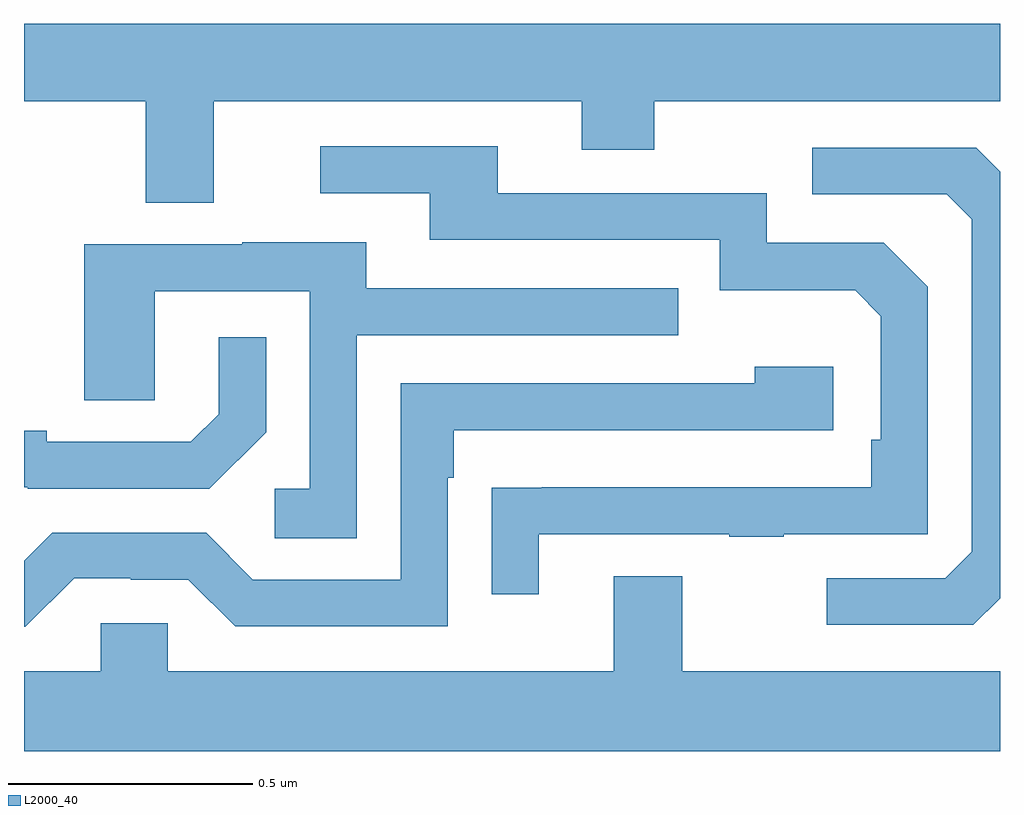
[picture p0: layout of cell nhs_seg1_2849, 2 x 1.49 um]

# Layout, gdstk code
import gdstk
lib = gdstk.Library(unit=1e-6, precision=1e-09)
def P(c, l, *ps):  # polygons
    for p in ps: c.add(gdstk.Polygon(p, *l))
L2000_40 = (2000, 40)

nhs_seg1_2849 = lib.new_cell('nhs_seg1_2849')
P(nhs_seg1_2849, L2000_40, [(146.389,577.04),(147.143,577.04),(147.143,576.941),(147.291,576.941),(147.291,577.04),(148,577.04),(148,577.199),(146,577.199),(146,577.04),(146.249,577.04),(146.249,576.832),(146.389,576.832)],
  [(147.055,576.153),(147.445,576.153),(147.445,576.148),(147.557,576.148),(147.557,576.153),(147.852,576.153),(147.852,576.66),(147.762,576.75),(147.522,576.75),(147.522,576.852),(146.971,576.852),(146.971,576.948),(146.607,576.948),(146.607,576.852),(146.831,576.852),(146.831,576.756),(147.426,576.756),(147.426,576.653),(147.703,576.653),(147.756,576.6),(147.756,576.346),(147.736,576.346),(147.736,576.249),(147.061,576.249),(147.061,576.248),(146.959,576.248),(146.959,576.03),(147.055,576.03)],
  [(148,576.022),(148,576.896),(147.951,576.945),(147.615,576.945),(147.615,576.849),(147.891,576.849),(147.942,576.798),(147.942,576.117),(147.888,576.063),(147.645,576.063),(147.645,575.967),(147.945,575.967)],
  [(146.682,576.561),(147.341,576.561),(147.341,576.657),(146.701,576.657),(146.701,576.751),(146.447,576.751),(146.447,576.747),(146.123,576.747),(146.123,576.427),(146.268,576.427),(146.268,576.651),(146.586,576.651),(146.586,576.246),(146.514,576.246),(146.514,576.145),(146.682,576.145)],
  [(146.496,576.362),(146.496,576.556),(146.399,576.556),(146.399,576.399),(146.342,576.342),(146.047,576.342),(146.047,576.365),(146,576.365),(146,576.249),(146.008,576.249),(146.008,576.246),(146.38,576.246)],
  [(146.103,576.063),(146.219,576.063),(146.219,576.06),(146.337,576.06),(146.433,575.964),(146.868,575.964),(146.868,576.269),(146.881,576.269),(146.881,576.366),(147.658,576.366),(147.658,576.496),(147.497,576.496),(147.497,576.462),(146.772,576.462),(146.772,576.06),(146.469,576.06),(146.373,576.156),(146.058,576.156),(146,576.098),(146,575.963),(146.003,575.963)],
  [(148,575.872),(147.349,575.872),(147.349,576.067),(147.209,576.067),(147.209,575.872),(146.295,575.872),(146.295,575.97),(146.157,575.97),(146.157,575.872),(146,575.872),(146,575.708),(148,575.708)])

lib.write_gds('nhs_seg1_2849.gds')
